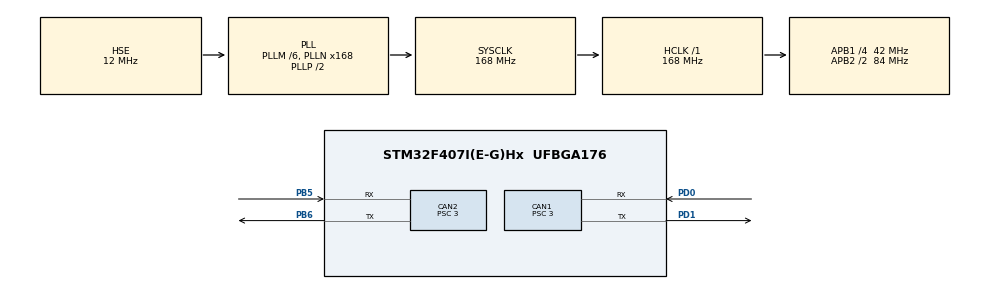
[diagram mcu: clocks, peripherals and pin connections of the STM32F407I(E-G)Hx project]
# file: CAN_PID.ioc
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<<<<<<< HEAD
CAN1.BS1=CAN_BS1_7TQ
CAN1.BS2=CAN_BS2_6TQ
CAN1.CalculateBaudRate=1000000
CAN1.CalculateTimeBit=1000
CAN1.CalculateTimeQuantum=71.42857142857143
CAN1.Prescaler=3
CAN2.BS1=CAN_BS1_7TQ
CAN2.BS2=CAN_BS2_6TQ
CAN2.CalculateBaudRate=1000000
CAN2.CalculateTimeBit=1000
CAN2.CalculateTimeQuantum=71.42857142857143
CAN2.Prescaler=3
Mcu.Family=STM32F4
Mcu.Name=STM32F407I(E-G)Hx
Mcu.Package=UFBGA176
NVIC.CAN2_RX0_IRQn=true\:0\:0\:false\:false\:true\:true\:true\:true
NVIC.PriorityGroup=NVIC_PRIORITYGROUP_4
PA13.Mode=Serial_Wire
PA13.Signal=SYS_JTMS-SWDIO
PA14.Mode=Serial_Wire
PA14.Signal=SYS_JTCK-SWCLK
PB5.GPIO_Mode=GPIO_MODE_AF_PP
PB5.GPIO_PuPd=GPIO_NOPULL
PB5.Mode=CAN_Activate
PB5.Signal=CAN2_RX
PB6.GPIO_PuPd=GPIO_NOPULL
PB6.Mode=CAN_Activate
PB6.Signal=CAN2_TX
PD0.GPIO_PuPd=GPIO_NOPULL
PD0.Mode=CAN_Activate
PD0.Signal=CAN1_RX
PD1.GPIO_PuPd=GPIO_NOPULL
PD1.Mode=CAN_Activate
PD1.Signal=CAN1_TX
PH0-OSC_IN.Mode=HSE-External-Oscillator
PH0-OSC_IN.Signal=RCC_OSC_IN
PH1-OSC_OUT.Mode=HSE-External-Oscillator
PH1-OSC_OUT.Signal=RCC_OSC_OUT
ProjectManager.HeapSize=0x200
ProjectManager.StackSize=0x400
ProjectManager.TargetToolchain=MDK-ARM V5.32
RCC.48MHZClocksFreq_Value=84000000
RCC.AHBFreq_Value=168000000
RCC.APB1CLKDivider=RCC_HCLK_DIV4
RCC.APB1Freq_Value=42000000
RCC.APB1TimFreq_Value=84000000
RCC.APB2CLKDivider=RCC_HCLK_DIV2
RCC.APB2Freq_Value=84000000
RCC.APB2TimFreq_Value=168000000
RCC.CortexFreq_Value=168000000
RCC.HCLKFreq_Value=168000000
RCC.HSE_VALUE=12000000
RCC.HSI_VALUE=16000000
RCC.LSE_VALUE=32768
RCC.PLLM=6
RCC.PLLN=168
RCC.PLLSourceVirtual=RCC_PLLSOURCE_HSE
RCC.SYSCLKFreq_VALUE=168000000
RCC.SYSCLKSource=RCC_SYSCLKSOURCE_PLLCLK
RCC.VCOOutputFreq_Value=336000000
board=custom
=======
CAN1.BS1=CAN_BS1_7TQ
CAN1.BS2=CAN_BS2_6TQ
CAN1.CalculateBaudRate=1000000
CAN1.CalculateTimeBit=1000
CAN1.CalculateTimeQuantum=71.42857142857143
CAN1.Prescaler=3
CAN2.BS1=CAN_BS1_7TQ
CAN2.BS2=CAN_BS2_6TQ
CAN2.CalculateBaudRate=1000000
CAN2.CalculateTimeBit=1000
CAN2.CalculateTimeQuantum=71.42857142857143
CAN2.Prescaler=3
Mcu.Family=STM32F4
Mcu.Name=STM32F407I(E-G)Hx
Mcu.Package=UFBGA176
NVIC.CAN2_RX0_IRQn=true\:0\:0\:false\:false\:true\:true\:true\:true
NVIC.PriorityGroup=NVIC_PRIORITYGROUP_4
PA13.Mode=Serial_Wire
PA13.Signal=SYS_JTMS-SWDIO
PA14.Mode=Serial_Wire
PA14.Signal=SYS_JTCK-SWCLK
PB5.GPIO_Mode=GPIO_MODE_AF_PP
PB5.GPIO_PuPd=GPIO_NOPULL
PB5.Mode=CAN_Activate
PB5.Signal=CAN2_RX
PB6.GPIO_PuPd=GPIO_NOPULL
PB6.Mode=CAN_Activate
PB6.Signal=CAN2_TX
PD0.GPIO_PuPd=GPIO_NOPULL
PD0.Mode=CAN_Activate
PD0.Signal=CAN1_RX
PD1.GPIO_PuPd=GPIO_NOPULL
PD1.Mode=CAN_Activate
PD1.Signal=CAN1_TX
PH0-OSC_IN.Mode=HSE-External-Oscillator
PH0-OSC_IN.Signal=RCC_OSC_IN
PH1-OSC_OUT.Mode=HSE-External-Oscillator
PH1-OSC_OUT.Signal=RCC_OSC_OUT
ProjectManager.HeapSize=0x200
ProjectManager.StackSize=0x400
ProjectManager.TargetToolchain=MDK-ARM V5.32
RCC.48MHZClocksFreq_Value=84000000
RCC.AHBFreq_Value=168000000
RCC.APB1CLKDivider=RCC_HCLK_DIV4
RCC.APB1Freq_Value=42000000
RCC.APB1TimFreq_Value=84000000
RCC.APB2CLKDivider=RCC_HCLK_DIV2
RCC.APB2Freq_Value=84000000
RCC.APB2TimFreq_Value=168000000
RCC.CortexFreq_Value=168000000
RCC.HCLKFreq_Value=168000000
RCC.HSE_VALUE=12000000
RCC.HSI_VALUE=16000000
RCC.LSE_VALUE=32768
RCC.PLLM=6
RCC.PLLN=168
RCC.PLLSourceVirtual=RCC_PLLSOURCE_HSE
RCC.SYSCLKFreq_VALUE=168000000
RCC.SYSCLKSource=RCC_SYSCLKSOURCE_PLLCLK
RCC.VCOOutputFreq_Value=336000000
board=custom
>>>>>>> 00ac74e (9.6)

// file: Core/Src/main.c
<<<<<<< HEAD
/* USER CODE BEGIN Header */
/**
  ******************************************************************************
  * @file           : main.c
  * @brief          : Main program body
  ******************************************************************************
  * @attention
  *
  * Copyright (c) 2023 STMicroelectronics.
  * All rights reserved.
  *
  * This software is licensed under terms that can be found in the LICENSE file
  * in the root directory of this software component.
  * If no LICENSE file comes with this software, it is provided AS-IS.
  *
  ******************************************************************************
  */
/* USER CODE END Header */
#include "main.h"
#include "can.h"
#include "gpio.h"

/* USER CODE BEGIN Includes */

#include "include.h"

/* USER CODE END Includes */

void SystemClock_Config(void);

int main(void)
{

  /* MCU Configuration--------------------------------------------------------*/

  /* Reset of all peripherals, Initializes the Flash interface and the Systick. */
  HAL_Init();

  /* Configure the system clock */
  SystemClock_Config();

  /* Initialize all configured peripherals */
  MX_GPIO_Init();
  MX_CAN1_Init();
  MX_CAN2_Init();
  /* USER CODE BEGIN 2 */

	PID_devices_Init();
	CAN1_Filter_Init();
	CAN2_Filter_Init();

	CAN_Start(&hcan1);
	CAN_Start(&hcan2);

  /* USER CODE END 2 */

  /* Infinite loop */
  while (1)
  {

    /* USER CODE BEGIN 3 */
		CAN1_CMD_2(0,1500,0,0);
		//CAN1_CMD_1(PID_velocity_realize_1(500,1),0,0,0);     //让1号电机速度为500rpm;
		HAL_Delay(1);              //延时不能太久

  }
  /* USER CODE END 3 */
}

void SystemClock_Config(void)
{
  RCC_OscInitTypeDef RCC_OscInitStruct = {0};
  RCC_ClkInitTypeDef RCC_ClkInitStruct = {0};

  /** Configure the main internal regulator output voltage
  */
  __HAL_RCC_PWR_CLK_ENABLE();
  __HAL_PWR_VOLTAGESCALING_CONFIG(PWR_REGULATOR_VOLTAGE_SCALE1);

  /** Initializes the RCC Oscillators according to the specified parameters
  * in the RCC_OscInitTypeDef structure.
  */
  RCC_OscInitStruct.OscillatorType = RCC_OSCILLATORTYPE_HSE;
  RCC_OscInitStruct.HSEState = RCC_HSE_ON;
  RCC_OscInitStruct.PLL.PLLState = RCC_PLL_ON;
  RCC_OscInitStruct.PLL.PLLSource = RCC_PLLSOURCE_HSE;
  RCC_OscInitStruct.PLL.PLLM = 6;
  RCC_OscInitStruct.PLL.PLLN = 168;
  RCC_OscInitStruct.PLL.PLLP = RCC_PLLP_DIV2;
  RCC_OscInitStruct.PLL.PLLQ = 4;
  if (HAL_RCC_OscConfig(&RCC_OscInitStruct) != HAL_OK)
  {
    Error_Handler();
  }

  /** Initializes the CPU, AHB and APB buses clocks
  */
  RCC_ClkInitStruct.ClockType = RCC_CLOCKTYPE_HCLK|RCC_CLOCKTYPE_SYSCLK
                              |RCC_CLOCKTYPE_PCLK1|RCC_CLOCKTYPE_PCLK2;
  RCC_ClkInitStruct.SYSCLKSource = RCC_SYSCLKSOURCE_PLLCLK;
  RCC_ClkInitStruct.AHBCLKDivider = RCC_SYSCLK_DIV1;
  RCC_ClkInitStruct.APB1CLKDivider = RCC_HCLK_DIV4;
  RCC_ClkInitStruct.APB2CLKDivider = RCC_HCLK_DIV2;

  if (HAL_RCC_ClockConfig(&RCC_ClkInitStruct, FLASH_LATENCY_5) != HAL_OK)
  {
    Error_Handler();
  }
}

void Error_Handler(void)
{
  __disable_irq();
  while (1)
  {
  }
}

=======
/* USER CODE BEGIN Header */
/**
  ******************************************************************************
  * @file           : main.c
  * @brief          : Main program body
  ******************************************************************************
  * @attention
  *
  * Copyright (c) 2023 STMicroelectronics.
  * All rights reserved.
  *
  * This software is licensed under terms that can be found in the LICENSE file
  * in the root directory of this software component.
  * If no LICENSE file comes with this software, it is provided AS-IS.
  *
  ******************************************************************************
  */
/* USER CODE END Header */
#include "main.h"
#include "can.h"
#include "gpio.h"

/* USER CODE BEGIN Includes */

#include "include.h"

/* USER CODE END Includes */

void SystemClock_Config(void);

int main(void)
{

  /* MCU Configuration--------------------------------------------------------*/

  /* Reset of all peripherals, Initializes the Flash interface and the Systick. */
  HAL_Init();

  /* Configure the system clock */
  SystemClock_Config();

  /* Initialize all configured peripherals */
  MX_GPIO_Init();
  MX_CAN1_Init();
  MX_CAN2_Init();
  /* USER CODE BEGIN 2 */

	PID_devices_Init();
	CAN1_Filter_Init();
	CAN2_Filter_Init();

	CAN_Start(&hcan1);
	CAN_Start(&hcan2);

  /* USER CODE END 2 */

  /* Infinite loop */
  while (1)
  {

    /* USER CODE BEGIN 3 */
		CAN1_CMD_2(0,1500,0,0);
		//CAN1_CMD_1(PID_velocity_realize_1(500,1),0,0,0);     //让1号电机速度为500rpm;
		HAL_Delay(1);              //延时不能太久

  }
  /* USER CODE END 3 */
}

void SystemClock_Config(void)
{
  RCC_OscInitTypeDef RCC_OscInitStruct = {0};
  RCC_ClkInitTypeDef RCC_ClkInitStruct = {0};

  /** Configure the main internal regulator output voltage
  */
  __HAL_RCC_PWR_CLK_ENABLE();
  __HAL_PWR_VOLTAGESCALING_CONFIG(PWR_REGULATOR_VOLTAGE_SCALE1);

  /** Initializes the RCC Oscillators according to the specified parameters
  * in the RCC_OscInitTypeDef structure.
  */
  RCC_OscInitStruct.OscillatorType = RCC_OSCILLATORTYPE_HSE;
  RCC_OscInitStruct.HSEState = RCC_HSE_ON;
  RCC_OscInitStruct.PLL.PLLState = RCC_PLL_ON;
  RCC_OscInitStruct.PLL.PLLSource = RCC_PLLSOURCE_HSE;
  RCC_OscInitStruct.PLL.PLLM = 6;
  RCC_OscInitStruct.PLL.PLLN = 168;
  RCC_OscInitStruct.PLL.PLLP = RCC_PLLP_DIV2;
  RCC_OscInitStruct.PLL.PLLQ = 4;
  if (HAL_RCC_OscConfig(&RCC_OscInitStruct) != HAL_OK)
  {
    Error_Handler();
  }

  /** Initializes the CPU, AHB and APB buses clocks
  */
  RCC_ClkInitStruct.ClockType = RCC_CLOCKTYPE_HCLK|RCC_CLOCKTYPE_SYSCLK
                              |RCC_CLOCKTYPE_PCLK1|RCC_CLOCKTYPE_PCLK2;
  RCC_ClkInitStruct.SYSCLKSource = RCC_SYSCLKSOURCE_PLLCLK;
  RCC_ClkInitStruct.AHBCLKDivider = RCC_SYSCLK_DIV1;
  RCC_ClkInitStruct.APB1CLKDivider = RCC_HCLK_DIV4;
  RCC_ClkInitStruct.APB2CLKDivider = RCC_HCLK_DIV2;

  if (HAL_RCC_ClockConfig(&RCC_ClkInitStruct, FLASH_LATENCY_5) != HAL_OK)
  {
    Error_Handler();
  }
}

void Error_Handler(void)
{
  __disable_irq();
  while (1)
  {
  }
}

>>>>>>> 00ac74e (9.6)
